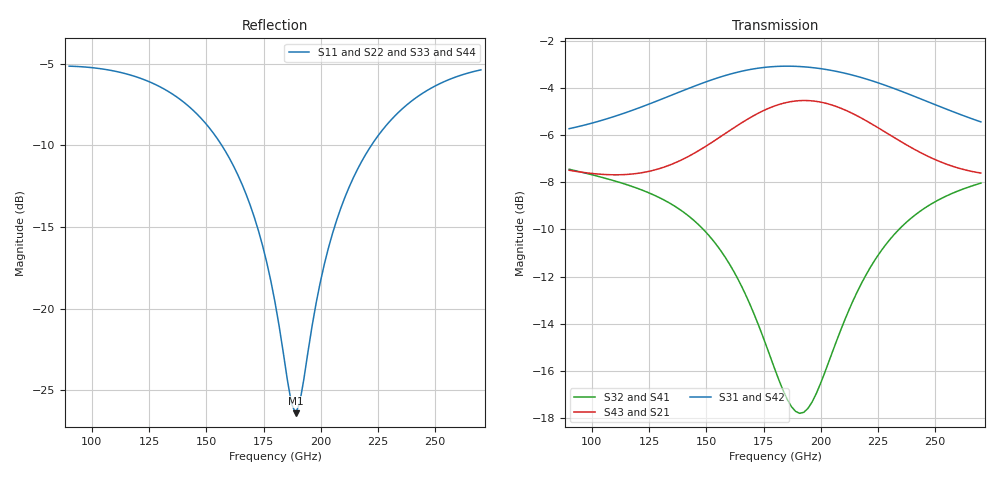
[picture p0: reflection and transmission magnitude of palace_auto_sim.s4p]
#  GHZ S DB R 50
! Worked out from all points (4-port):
!   101 points, 90 GHz to 270 GHz, reference 50 ohm
!   strongest paths, dB at 90 GHz, 135 GHz, 180 GHz, 225 GHz, 270 GHz:
!     S31: -5.7, -4.3, -3.1, -3.8, -5.4
!     S42: -5.7, -4.3, -3.1, -3.8, -5.4
!     S43: -7.5, -7.2, -4.8, -5.7, -7.6
!     S21: -7.5, -7.2, -4.8, -5.7, -7.6
!     S32: -7.4, -8.9, -15.9, -11.1, -8.0
!     S41: -7.4, -9.0, -15.9, -11.1, -8.0
!   lowest |S11| = -26.4 dB at 189 GHz (marker M1), VSWR 1.10, Z = 55 - j0.811 ohm
!   |S11| at or under -10 dB: 156.7 GHz to 222.1 GHz (65.38 GHz wide, 34.5 % of centre)
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90  -5.15 157.8  -7.49 -49.0  -5.73 -79.3  -7.45 -61.9
    -7.49 -49.0  -5.15 157.9  -7.45 -61.9  -5.72 -79.3
    -5.73 -79.3  -7.45 -61.9  -5.15 157.8  -7.49 -49.0
    -7.45 -61.9  -5.72 -79.3  -7.49 -49.0  -5.15 157.8
156.6  -9.97 105.3  -6.04 -71.1  -3.52 -146.2  -10.95 -111.4
       -6.04 -71.1  -9.99 105.3  -10.94 -111.5  -3.52 -146.2
       -3.52 -146.2  -10.94 -111.5  -9.97 105.2  -6.04 -71.1
       -10.95 -111.4  -3.52 -146.2  -6.04 -71.1  -9.97 105.2
174.6  -16.15 78.1  -4.98 -84.4  -3.14 -168.6  -14.53 -118.8
       -4.98 -84.4  -16.20 77.9  -14.52 -118.9  -3.13 -168.7
       -3.14 -168.6  -14.52 -118.9  -16.15 77.8  -4.98 -84.3
       -14.53 -118.8  -3.13 -168.7  -4.98 -84.3  -16.16 77.8
189  -26.40 -8.8  -4.55 -98.0  -3.08 172.9  -17.70 -100.6
     -4.55 -98.0  -26.32 -10.2  -17.72 -100.9  -3.08 172.9
     -3.08 172.9  -17.72 -100.9  -26.22 -9.3  -4.55 -98.0
     -17.70 -100.6  -3.08 172.9  -4.55 -98.0  -26.30 -9.4
203.4  -16.26 -94.4  -4.68 -112.2  -3.23 154.7  -15.61 -75.0
       -4.68 -112.2  -16.18 -94.4  -15.64 -75.0  -3.23 154.7
       -3.23 154.7  -15.64 -75.0  -16.21 -94.1  -4.68 -112.1
       -15.61 -75.0  -3.23 154.7  -4.68 -112.1  -16.22 -94.3
217.8  -11.00 -116.3  -5.28 -124.7  -3.56 137.0  -12.26 -75.3
       -5.28 -124.7  -10.97 -116.2  -12.29 -75.3  -3.56 137.0
       -3.56 137.0  -12.29 -75.3  -10.98 -116.0  -5.28 -124.7
       -12.26 -75.3  -3.56 137.0  -5.28 -124.7  -10.99 -116.2
270  -5.38 -161.6  -7.61 -148.7  -5.44 81.6  -8.02 -115.2
     -7.61 -148.7  -5.36 -161.5  -8.03 -115.1  -5.44 81.6
     -5.44 81.6  -8.03 -115.1  -5.37 -161.4  -7.61 -148.7
     -8.02 -115.2  -5.44 81.6  -7.61 -148.7  -5.38 -161.6
